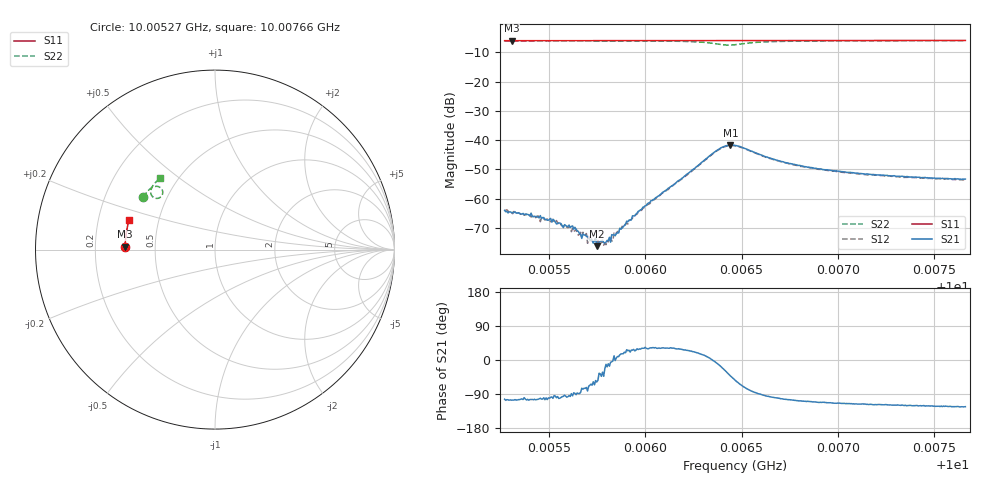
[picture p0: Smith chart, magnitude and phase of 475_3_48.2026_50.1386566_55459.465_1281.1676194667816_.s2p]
#  HZ  S  RI  R  50.00
! Rohde & Schwarz Vector Network Analyzer
! Rohde-Schwarz,ZNB20-2Port,1311601062101988,3.16
! Created: UTC 3/20/2024, 11:57:19 AM
! freq[Hz]  re:S11  im:S11  re:S21  im:S21  re:S12  im:S12  re:S22  im:S22
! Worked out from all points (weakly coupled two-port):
!   401 points, 10.00527 GHz to 10.00766 GHz, reference 50 ohm
!   highest |S21| = -41.66 dB at 10.00644 GHz (marker M1); lowest = -76.2 dB at 10.00575 GHz (marker M2)
!   lowest |S11| = -6.0 dB at 10.0053 GHz (marker M3), VSWR 3.01, Z = 16.6 + j0.741 ohm
!   |S11| at or under -10 dB: nowhere
!   |S22| runs from -7.5 to -6.0 dB; largest |S21 - S12| = 0.00053
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1.0005269e10  -0.5006 0.0143  -0.000149 -0.000615  -0.000114 -0.000605  -0.3996 0.2929
1.0005305e10  -0.5005 0.0167  -0.000159 -0.000553  -0.000115 -0.000563  -0.3982 0.2951
1.0005514e10  -0.5005 0.0304  -5.18e-05 -0.000394  -1.93e-05 -0.000416  -0.3895 0.3076
1.000558e10  -0.5003 0.0347  -1.74e-05 -0.00036  2.12e-07 -0.000333  -0.3864 0.3115
1.0005628e10  -0.5 0.0378  1.77e-05 -0.0003  5.35e-05 -0.000271  -0.3843 0.3143
1.000567e10  -0.4999 0.0405  5.6e-05 -0.000202  4.12e-05 -0.000227  -0.3821 0.317
1.0005688e10  -0.4998 0.0418  6.12e-05 -0.000229  7.04e-05 -0.000231  -0.3813 0.318
1.0005712e10  -0.4999 0.0432  7.74e-05 -0.000178  4.78e-05 -0.000194  -0.3801 0.3195
1.0005748e10  -0.4996 0.0455  8.14e-05 -0.000131  0.00013 -0.000122  -0.3784 0.3217
1.0005796e10  -0.4994 0.0487  0.000176 -3.54e-05  0.000154 -5.53e-05  -0.3755 0.3248
1.0005837e10  -0.4992 0.0514  0.000236 4.57e-05  0.000259 7.71e-06  -0.3731 0.3275
1.0005849e10  -0.4992 0.0523  0.000252 2.47e-05  0.000257 3.81e-05  -0.3725 0.3283
1.0005951e10  -0.4987 0.0589  0.000489 0.000239  0.000454 0.000275  -0.3657 0.335
1.0006071e10  -0.4978 0.0665  0.000952 0.000591  0.00094 0.000621  -0.3556 0.3432
1.0006364e10  -0.495 0.0854  0.00638 -0.000645  0.00628 -0.000281  -0.2946 0.3337
1.0006406e10  -0.4945 0.0877  0.0071 -0.00306  0.00711 -0.00266  -0.292 0.3104
1.0006442e10  -0.4942 0.0898  0.00615 -0.00552  0.00628 -0.00505  -0.3043 0.2918
1.0006466e10  -0.4941 0.0912  0.00486 -0.00653  0.00515 -0.00616  -0.3176 0.2857
1.0006694e10  -0.4923 0.1057  -0.000837 -0.00436  -0.000623 -0.00435  -0.3576 0.3299
1.0006867e10  -0.4901 0.1169  -0.00118 -0.00317  -0.00103 -0.00319  -0.3499 0.3499
1.0007268e10  -0.4844 0.1422  -0.00119 -0.00217  -0.00109 -0.00219  -0.3289 0.3767
1.0007663e10  -0.4772 0.1668  -0.00118 -0.00181  -0.00107 -0.00179  -0.3085 0.3966
